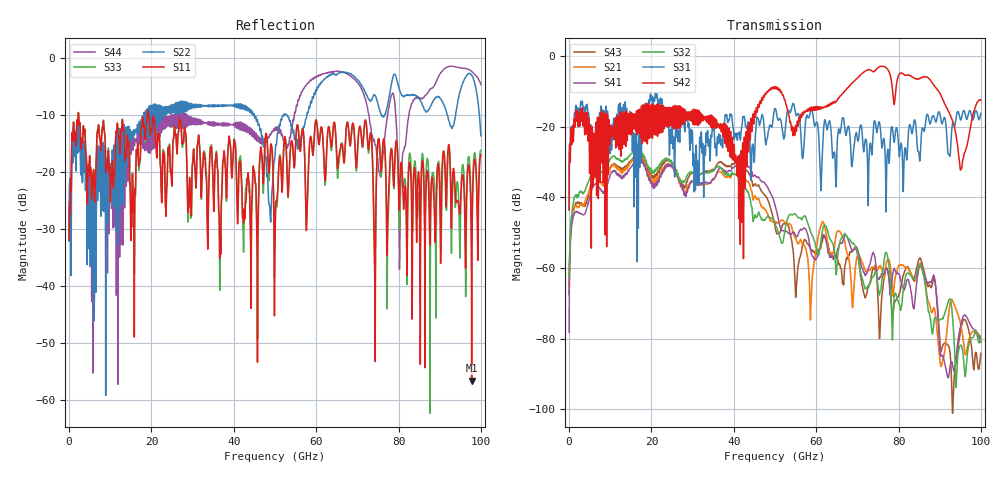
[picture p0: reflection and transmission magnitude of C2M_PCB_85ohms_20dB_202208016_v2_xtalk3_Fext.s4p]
! Info: Touchstone file created by Circ.  Input file=Intel_C2M_200G_7p0in_202208016_staggered.circ
# Hz S RI R 50
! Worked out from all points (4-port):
!   10000 points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, 10 MHz to 100 GHz, reference 50 ohm
!   strongest paths, dB at 10 MHz, 25.01 GHz, 50.01 GHz, 75.01 GHz, 100 GHz:
!     S42: -43.5, -18.0, -9.1, -3.3, -12.5
!     S31: -43.6, -19.4, -14.9, -19.9, -16.2
!     S32: -61.9, -30.7, -47.3, -65.1, -79.2
!     S41: -78.2, -31.3, -42.2, -62.9, -81.0
!     S21: -64.9, -31.5, -46.9, -60.2, -80.8
!     S43: -67.5, -30.5, -48.2, -68.6, -84.1
!   lowest |S11| = -56.6 dB at 97.76 GHz (marker M1), VSWR 1.00, Z = 50.1 - j0.0532 ohm
!   |S11| at or under -10 dB: start of sweep to 2.202 GHz; 2.334 GHz to 18.99 GHz (16.66 GHz wide, 156 % of centre); 19.24 GHz to end of sweep
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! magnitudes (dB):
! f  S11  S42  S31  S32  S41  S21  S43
! 10 MHz  -31.9  -43.5  -43.6  -61.9  -78.2  -64.9  -67.5
! 6.23 GHz  -25.0  -27.0  -25.2  -31.8  -36.4  -34.4  -34.4
! 40.84 GHz  -27.3  -33.9  -23.8  -33.7  -30.8  -33.4  -30.2
! 58.68 GHz  -13.7  -15.5  -15.3  -50.0  -55.2  -72.1  -54.8
! 75.71 GHz  -19.5  -2.9  -22.2  -66.3  -62.4  -59.8  -72.5
! 97.76 GHz  -56.6  -18.3  -17.0  -79.8  -76.7  -78.3  -82.6
! 100 GHz  -16.9  -12.5  -16.2  -79.2  -81.0  -80.8  -84.1
